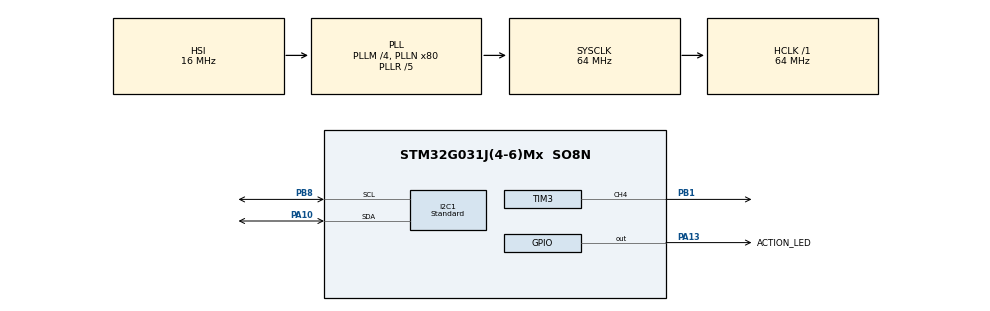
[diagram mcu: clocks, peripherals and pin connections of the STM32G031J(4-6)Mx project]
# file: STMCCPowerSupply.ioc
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ADC1.Channel-4\#ChannelRegularConversion=ADC_CHANNEL_TEMPSENSOR
ADC1.ChannelTS=ADC_CHANNEL_TEMPSENSOR
ADC1.ContinuousConvMode=ENABLE
ADC1.NbrOfConversionFlag=1
ADC1.Rank-4\#ChannelRegularConversion=1
ADC1.SamplingTime-4\#ChannelRegularConversion=ADC_SAMPLINGTIME_COMMON_1
ADC1.SamplingTimeCommon1=ADC_SAMPLETIME_79CYCLES_5
ADC1.SamplingTimeCommon2=ADC_SAMPLETIME_79CYCLES_5
ADC1.SelectedChannel=ADC_CHANNEL_TEMPSENSOR|ADC_CHANNEL_VREFINT
ADC1.master=1
Dma.ADC1.0.Direction=DMA_PERIPH_TO_MEMORY
Dma.ADC1.0.EventEnable=DISABLE
Dma.ADC1.0.Instance=DMA1_Channel1
Dma.ADC1.0.MemDataAlignment=DMA_MDATAALIGN_HALFWORD
Dma.ADC1.0.MemInc=DMA_MINC_ENABLE
Dma.ADC1.0.Mode=DMA_CIRCULAR
Dma.ADC1.0.PeriphDataAlignment=DMA_PDATAALIGN_HALFWORD
Dma.ADC1.0.PeriphInc=DMA_PINC_DISABLE
Dma.ADC1.0.Polarity=HAL_DMAMUX_REQ_GEN_RISING
Dma.ADC1.0.Priority=DMA_PRIORITY_LOW
Dma.ADC1.0.RequestNumber=1
Dma.ADC1.0.SignalID=NONE
Dma.ADC1.0.SyncEnable=DISABLE
Dma.ADC1.0.SyncPolarity=HAL_DMAMUX_SYNC_NO_EVENT
Dma.ADC1.0.SyncRequestNumber=1
Dma.ADC1.0.SyncSignalID=NONE
Dma.Request0=ADC1
I2C1.Analog_Filter=I2C_ANALOGFILTER_ENABLE
I2C1.DualAddressMode=I2C_DUALADDRESS_DISABLE
I2C1.GeneralCallMode=I2C_GENERALCALL_ENABLE
I2C1.I2C_Speed_Mode=I2C_Standard
I2C1.NoStretchMode=I2C_NOSTRETCH_DISABLE
I2C1.OwnAddress=0x20
I2C1.Timing=0x10707DBC
Mcu.Family=STM32G0
Mcu.Name=STM32G031J(4-6)Mx
Mcu.Package=SO8N
NVIC.DMA1_Channel1_IRQn=true\:0\:0\:false\:false\:true\:false\:true\:true
NVIC.I2C1_IRQn=true\:1\:0\:true\:false\:true\:true\:true\:true
NVIC.TIM16_IRQn=true\:0\:0\:false\:false\:true\:true\:true\:true
PA10\ [PA12].Mode=I2C
PA10\ [PA12].Signal=I2C1_SDA
PA13.GPIO_Label=ACTION_LED
PA13.Signal=GPIO_Output
PA14-BOOT0__PA15__PB5__PB6.StandardMode=true
PB0__PB1__PA8__PA11\ [PA9].StandardMode=true
PB1.Signal=S_TIM3_CH4
PB8.Mode=I2C
PB8.Signal=I2C1_SCL
PC14-OSC32_IN\ (PC14)__PB7__PB8__PB9.StandardMode=true
PF2\ -\ NRST__PA0__PA1__PA2.StandardMode=true
ProjectManager.HeapSize=0x200
ProjectManager.StackSize=0x400
ProjectManager.TargetToolchain=STM32CubeIDE
RCC.ADCFreq_Value=64000000
RCC.AHBFreq_Value=64000000
RCC.CortexFreq_Value=64000000
RCC.EXTERNAL_CLOCK_VALUE=12288000
RCC.HCLKFreq_Value=64000000
RCC.HSE_VALUE=8000000
RCC.HSI_VALUE=16000000
RCC.LSE_VALUE=32768
RCC.PLLM=RCC_PLLM_DIV4
RCC.PLLN=80
RCC.PLLR=RCC_PLLR_DIV5
RCC.SYSCLKFreq_VALUE=64000000
RCC.SYSCLKSource=RCC_SYSCLKSOURCE_PLLCLK
RCC.VCOOutputFreq_Value=320000000
SH.S_TIM3_CH4.0=TIM3_CH4,PWM Generation4 CH4
TIM16.Period=6399
TIM16.Prescaler=9
TIM3.Channel-PWM\ Generation4\ CH4=TIM_CHANNEL_4
TIM3.Period=100
TIM3.Prescaler=0
VP_ADC1_TempSens_Input.Mode=IN-TempSens
VP_ADC1_Vref_Input.Mode=IN-Vrefint
VP_CRC_VS_CRC.Mode=CRC_Activate
VP_SYS_VS_PINREMAP_10_12.Mode=PINREMAP_10_12
VP_TIM16_VS_ClockSourceINT.Mode=Enable_Timer
board=custom

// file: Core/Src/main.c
/* USER CODE BEGIN Header */
/**
  ******************************************************************************
  * @file           : main.c
  * @brief          : Main program body
  ******************************************************************************
  * @attention
  *
  * <h2><center>&copy; Copyright (c) 2022 STMicroelectronics.
  * All rights reserved.</center></h2>
  *
  * This software component is licensed by ST under BSD 3-Clause license,
  * the "License"; You may not use this file except in compliance with the
  * License. You may obtain a copy of the License at:
  *                        opensource.org/licenses/BSD-3-Clause
  *
  ******************************************************************************
  */

/* USER CODE END Header */
#include "main.h"

/* USER CODE BEGIN Includes */
/*size of shared mem */
#define shMemSize 32

/* USER CODE END Includes */

/* USER CODE BEGIN PTD */
__IO uint32_t     Transfer_Direction = 0;
__IO uint32_t     Xfer_Complete = 0;

/* USER CODE END PTD */

/* USER CODE BEGIN PD */

/* Buffer used for transmission */
uint8_t aTxBuffer[4];

/* Buffer used for reception */
uint8_t aRxBuffer[4];

uint8_t sharedMemory[shMemSize];

/* USER CODE END PD */

 ADC_HandleTypeDef hadc1;
DMA_HandleTypeDef hdma_adc1;

CRC_HandleTypeDef hcrc;

I2C_HandleTypeDef hi2c1;

TIM_HandleTypeDef htim3;
TIM_HandleTypeDef htim16;

void SystemClock_Config(void);
static void MX_GPIO_Init(void);
static void MX_ADC1_Init(void);
static void MX_I2C1_Init(void);
static void MX_DMA_Init(void);
static void MX_CRC_Init(void);
static void MX_TIM16_Init(void);
static void MX_TIM3_Init(void);
/* USER CODE BEGIN PFP */

void HAL_TIM_PeriodElapsedCallback(TIM_HandleTypeDef *htim){
	if(htim->Instance == TIM16){ // Jeżeli przerwanie pochodzi od timera 16

		 static int i =0;
		 i++;
		 if (i>100)
		 {
			 HAL_GPIO_TogglePin(ACTION_LED_GPIO_Port, ACTION_LED_Pin);
			i = 0;
		 }

	}
}

/* USER CODE END PFP */

int main(void)
{

  /* MCU Configuration--------------------------------------------------------*/

  /* Reset of all peripherals, Initializes the Flash interface and the Systick. */
  HAL_Init();

  /* USER CODE BEGIN Init */

	aRxBuffer[0]=0x00;
	aRxBuffer[1]=0x00;
	aRxBuffer[2]=0x00;
	aRxBuffer[3]=0x00;
	aTxBuffer[0]=0xAA;
	aTxBuffer[1]=0xBB;
	aTxBuffer[2]=0xCC;
	aTxBuffer[3]=0xDD;

  /* USER CODE END Init */

  /* Configure the system clock */
  SystemClock_Config();

  /* Initialize all configured peripherals */
  MX_GPIO_Init();
  MX_ADC1_Init();
  MX_I2C1_Init();
  MX_DMA_Init();
  MX_CRC_Init();
  MX_TIM16_Init();
  MX_TIM3_Init();
  /* USER CODE BEGIN 2 */
  HAL_TIM_Base_Init(&htim16);
  HAL_TIM_Base_Start_IT(&htim16);
  //HAL_TIM_Base_Start_IT(&htim2);
  HAL_TIM_Base_Start(&htim3);
  HAL_TIM_Base_Start_IT(&htim3);
  HAL_TIM_PWM_Start(&htim3, TIM_CHANNEL_4);
  __HAL_TIM_SET_COMPARE(&htim3, TIM_CHANNEL_4, 50);

  if(HAL_I2C_EnableListen_IT(&hi2c1) != HAL_OK)
  {
    /* Transfer error in reception process */
    Error_Handler();
  }

  /* USER CODE END 2 */

  /* Infinite loop */
  /* USER CODE BEGIN WHILE */
  while (1)
  {

	  if (Xfer_Complete ==1)
		  {
		  // ##- Put I2C peripheral in listen mode process ###########################
		  HAL_Delay(1);
		   if(HAL_I2C_EnableListen_IT(&hi2c1) != HAL_OK)
		   {
			 Error_Handler();
		   }
		 Xfer_Complete =0;
		 }

    /* USER CODE END WHILE */

  }
}

void SystemClock_Config(void)
{
  RCC_OscInitTypeDef RCC_OscInitStruct = {0};
  RCC_ClkInitTypeDef RCC_ClkInitStruct = {0};

  /** Configure the main internal regulator output voltage
  */
  HAL_PWREx_ControlVoltageScaling(PWR_REGULATOR_VOLTAGE_SCALE1);

  /** Initializes the RCC Oscillators according to the specified parameters
  * in the RCC_OscInitTypeDef structure.
  */
  RCC_OscInitStruct.OscillatorType = RCC_OSCILLATORTYPE_HSI;
  RCC_OscInitStruct.HSIState = RCC_HSI_ON;
  RCC_OscInitStruct.HSIDiv = RCC_HSI_DIV1;
  RCC_OscInitStruct.HSICalibrationValue = RCC_HSICALIBRATION_DEFAULT;
  RCC_OscInitStruct.PLL.PLLState = RCC_PLL_ON;
  RCC_OscInitStruct.PLL.PLLSource = RCC_PLLSOURCE_HSI;
  RCC_OscInitStruct.PLL.PLLM = RCC_PLLM_DIV4;
  RCC_OscInitStruct.PLL.PLLN = 80;
  RCC_OscInitStruct.PLL.PLLP = RCC_PLLP_DIV2;
  RCC_OscInitStruct.PLL.PLLQ = RCC_PLLQ_DIV2;
  RCC_OscInitStruct.PLL.PLLR = RCC_PLLR_DIV5;
  if (HAL_RCC_OscConfig(&RCC_OscInitStruct) != HAL_OK)
  {
    Error_Handler();
  }

  /** Initializes the CPU, AHB and APB buses clocks
  */
  RCC_ClkInitStruct.ClockType = RCC_CLOCKTYPE_HCLK|RCC_CLOCKTYPE_SYSCLK
                              |RCC_CLOCKTYPE_PCLK1;
  RCC_ClkInitStruct.SYSCLKSource = RCC_SYSCLKSOURCE_PLLCLK;
  RCC_ClkInitStruct.AHBCLKDivider = RCC_SYSCLK_DIV1;
  RCC_ClkInitStruct.APB1CLKDivider = RCC_HCLK_DIV1;

  if (HAL_RCC_ClockConfig(&RCC_ClkInitStruct, FLASH_LATENCY_2) != HAL_OK)
  {
    Error_Handler();
  }
}

static void MX_ADC1_Init(void)
{

  ADC_ChannelConfTypeDef sConfig = {0};

  /** Configure the global features of the ADC (Clock, Resolution, Data Alignment and number of conversion)
  */
  hadc1.Instance = ADC1;
  hadc1.Init.ClockPrescaler = ADC_CLOCK_SYNC_PCLK_DIV2;
  hadc1.Init.Resolution = ADC_RESOLUTION_12B;
  hadc1.Init.DataAlign = ADC_DATAALIGN_RIGHT;
  hadc1.Init.ScanConvMode = ADC_SCAN_DISABLE;
  hadc1.Init.EOCSelection = ADC_EOC_SINGLE_CONV;
  hadc1.Init.LowPowerAutoWait = DISABLE;
  hadc1.Init.LowPowerAutoPowerOff = DISABLE;
  hadc1.Init.ContinuousConvMode = ENABLE;
  hadc1.Init.NbrOfConversion = 1;
  hadc1.Init.ExternalTrigConv = ADC_SOFTWARE_START;
  hadc1.Init.ExternalTrigConvEdge = ADC_EXTERNALTRIGCONVEDGE_NONE;
  hadc1.Init.DMAContinuousRequests = DISABLE;
  hadc1.Init.Overrun = ADC_OVR_DATA_PRESERVED;
  hadc1.Init.SamplingTimeCommon1 = ADC_SAMPLETIME_79CYCLES_5;
  hadc1.Init.SamplingTimeCommon2 = ADC_SAMPLETIME_79CYCLES_5;
  hadc1.Init.OversamplingMode = DISABLE;
  hadc1.Init.TriggerFrequencyMode = ADC_TRIGGER_FREQ_HIGH;
  if (HAL_ADC_Init(&hadc1) != HAL_OK)
  {
    Error_Handler();
  }

  /** Configure Regular Channel
  */
  sConfig.Channel = ADC_CHANNEL_TEMPSENSOR;
  sConfig.Rank = ADC_REGULAR_RANK_1;
  sConfig.SamplingTime = ADC_SAMPLINGTIME_COMMON_1;
  if (HAL_ADC_ConfigChannel(&hadc1, &sConfig) != HAL_OK)
  {
    Error_Handler();
  }

}

static void MX_CRC_Init(void)
{

  hcrc.Instance = CRC;
  hcrc.Init.DefaultPolynomialUse = DEFAULT_POLYNOMIAL_ENABLE;
  hcrc.Init.DefaultInitValueUse = DEFAULT_INIT_VALUE_ENABLE;
  hcrc.Init.InputDataInversionMode = CRC_INPUTDATA_INVERSION_NONE;
  hcrc.Init.OutputDataInversionMode = CRC_OUTPUTDATA_INVERSION_DISABLE;
  hcrc.InputDataFormat = CRC_INPUTDATA_FORMAT_BYTES;
  if (HAL_CRC_Init(&hcrc) != HAL_OK)
  {
    Error_Handler();
  }

}

static void MX_I2C1_Init(void)
{

  hi2c1.Instance = I2C1;
  hi2c1.Init.Timing = 0x10707DBC;
  hi2c1.Init.OwnAddress1 = 64;
  hi2c1.Init.AddressingMode = I2C_ADDRESSINGMODE_7BIT;
  hi2c1.Init.DualAddressMode = I2C_DUALADDRESS_DISABLE;
  hi2c1.Init.OwnAddress2 = 0;
  hi2c1.Init.OwnAddress2Masks = I2C_OA2_NOMASK;
  hi2c1.Init.GeneralCallMode = I2C_GENERALCALL_ENABLE;
  hi2c1.Init.NoStretchMode = I2C_NOSTRETCH_DISABLE;
  if (HAL_I2C_Init(&hi2c1) != HAL_OK)
  {
    Error_Handler();
  }

  /** Configure Analogue filter
  */
  if (HAL_I2CEx_ConfigAnalogFilter(&hi2c1, I2C_ANALOGFILTER_ENABLE) != HAL_OK)
  {
    Error_Handler();
  }

  /** Configure Digital filter
  */
  if (HAL_I2CEx_ConfigDigitalFilter(&hi2c1, 0) != HAL_OK)
  {
    Error_Handler();
  }

}

static void MX_TIM3_Init(void)
{

  TIM_MasterConfigTypeDef sMasterConfig = {0};
  TIM_OC_InitTypeDef sConfigOC = {0};

  htim3.Instance = TIM3;
  htim3.Init.Prescaler = 0;
  htim3.Init.CounterMode = TIM_COUNTERMODE_UP;
  htim3.Init.Period = 100;
  htim3.Init.ClockDivision = TIM_CLOCKDIVISION_DIV1;
  htim3.Init.AutoReloadPreload = TIM_AUTORELOAD_PRELOAD_DISABLE;
  if (HAL_TIM_PWM_Init(&htim3) != HAL_OK)
  {
    Error_Handler();
  }
  sMasterConfig.MasterOutputTrigger = TIM_TRGO_RESET;
  sMasterConfig.MasterSlaveMode = TIM_MASTERSLAVEMODE_DISABLE;
  if (HAL_TIMEx_MasterConfigSynchronization(&htim3, &sMasterConfig) != HAL_OK)
  {
    Error_Handler();
  }
  sConfigOC.OCMode = TIM_OCMODE_PWM1;
  sConfigOC.Pulse = 0;
  sConfigOC.OCPolarity = TIM_OCPOLARITY_HIGH;
  sConfigOC.OCFastMode = TIM_OCFAST_DISABLE;
  if (HAL_TIM_PWM_ConfigChannel(&htim3, &sConfigOC, TIM_CHANNEL_4) != HAL_OK)
  {
    Error_Handler();
  }
  HAL_TIM_MspPostInit(&htim3);

}

static void MX_TIM16_Init(void)
{

  htim16.Instance = TIM16;
  htim16.Init.Prescaler = 9;
  htim16.Init.CounterMode = TIM_COUNTERMODE_UP;
  htim16.Init.Period = 6399;
  htim16.Init.ClockDivision = TIM_CLOCKDIVISION_DIV1;
  htim16.Init.RepetitionCounter = 0;
  htim16.Init.AutoReloadPreload = TIM_AUTORELOAD_PRELOAD_DISABLE;
  if (HAL_TIM_Base_Init(&htim16) != HAL_OK)
  {
    Error_Handler();
  }

}

static void MX_DMA_Init(void)
{

  /* DMA controller clock enable */
  __HAL_RCC_DMA1_CLK_ENABLE();

  /* DMA interrupt init */
  /* DMA1_Channel1_IRQn interrupt configuration */
  HAL_NVIC_SetPriority(DMA1_Channel1_IRQn, 0, 0);
  HAL_NVIC_EnableIRQ(DMA1_Channel1_IRQn);

}

static void MX_GPIO_Init(void)
{
  GPIO_InitTypeDef GPIO_InitStruct = {0};

  /* GPIO Ports Clock Enable */
  __HAL_RCC_GPIOB_CLK_ENABLE();
  __HAL_RCC_GPIOA_CLK_ENABLE();

  /*Configure GPIO pin Output Level */
  HAL_GPIO_WritePin(ACTION_LED_GPIO_Port, ACTION_LED_Pin, GPIO_PIN_RESET);

  /*Configure GPIO pin : ACTION_LED_Pin */
  GPIO_InitStruct.Pin = ACTION_LED_Pin;
  GPIO_InitStruct.Mode = GPIO_MODE_OUTPUT_PP;
  GPIO_InitStruct.Pull = GPIO_NOPULL;
  GPIO_InitStruct.Speed = GPIO_SPEED_FREQ_LOW;
  HAL_GPIO_Init(ACTION_LED_GPIO_Port, &GPIO_InitStruct);

}

/* USER CODE BEGIN 4 */

/**
  * @brief  Tx Transfer completed callback.
  * @param  I2cHandle: I2C handle.
  * @note   This example shows a simple way to report end of IT Tx transfer, and
  *         you can add your own implementation.
  * @retval None
  */

void HAL_I2C_SlaveTxCpltCallback(I2C_HandleTypeDef *I2cHandle)
{
  /* Toggle LED4: Transfer in transmission process is correct */

  //tidy up
  aRxBuffer[0]=0x00;
  aRxBuffer[1]=0x00;
  Xfer_Complete = 1;
}

/**
  * @brief  Rx Transfer completed callback.
  * @param  I2cHandle: I2C handle
  * @note   This example shows a simple way to report end of IT Rx transfer, and
  *         you can add your own implementation.
  * @retval None
  */
void HAL_I2C_SlaveRxCpltCallback(I2C_HandleTypeDef *I2cHandle)
{
  /* Toggle LED4: Transfer in reception process is correct */

  if(aRxBuffer[0] < shMemSize)
	  sharedMemory[aRxBuffer[0]] = aRxBuffer[1];

  //tidy up
  aRxBuffer[0]=0x00;
  aRxBuffer[1]=0x00;
  Xfer_Complete = 1;
}

/**
  * @brief  Slave Address Match callback.
  * @param  hi2c Pointer to a I2C_HandleTypeDef structure that contains
  *                the configuration information for the specified I2C.
  * @param  TransferDirection: Master request Transfer Direction (Write/Read), value of @ref I2C_XferOptions_definition
  * @param  AddrMatchCode: Address Match Code
  * @retval None
  */
void HAL_I2C_AddrCallback(I2C_HandleTypeDef *hi2c, uint8_t TransferDirection, uint16_t AddrMatchCode)
{
  Transfer_Direction = TransferDirection;

  if (Transfer_Direction != 0)
  {
     /*##- Start the transmission process #####################################*/
  /* While the I2C in reception process, user can transmit data through
     "aTxBuffer" buffer */
	  if(aRxBuffer[0] < shMemSize)
		  aTxBuffer[0] = sharedMemory[aRxBuffer[0]];

	  if (HAL_I2C_Slave_Seq_Transmit_IT(&hi2c1, (uint8_t *)aTxBuffer, 1, I2C_FIRST_AND_LAST_FRAME) != HAL_OK)

    {
    /* Transfer error in transmission process */
    Error_Handler();
  }

  }
  else
  {

      /*##- Put I2C peripheral in reception process ###########################*/
  if (HAL_I2C_Slave_Seq_Receive_IT(&hi2c1, (uint8_t *)aRxBuffer, 2, I2C_FIRST_AND_LAST_FRAME) != HAL_OK)
    {
    /* Transfer error in reception process */
    Error_Handler();
  }

  }

}

/**
  * @brief  Listen Complete callback.
  * @param  hi2c Pointer to a I2C_HandleTypeDef structure that contains
  *                the configuration information for the specified I2C.
  * @retval None
  */
void HAL_I2C_ListenCpltCallback(I2C_HandleTypeDef *hi2c)
{
}

/**
  * @brief  I2C error callbacks.
  * @param  I2cHandle: I2C handle
  * @note   This example shows a simple way to report transfer error, and you can
  *         add your own implementation.
  * @retval None
  */
void HAL_I2C_ErrorCallback(I2C_HandleTypeDef *I2cHandle)
{
  /** Error_Handler() function is called when error occurs.
    * 1- When Slave doesn't acknowledge its address, Master restarts communication.
    * 2- When Master doesn't acknowledge the last data transferred, Slave doesn't care in this example.
    */
  if (HAL_I2C_GetError(I2cHandle) != HAL_I2C_ERROR_AF)
  {
    Error_Handler();
  }
}

/* USER CODE END 4 */

void Error_Handler(void)
{
  __disable_irq();
  while (1)
  {
  }
}
